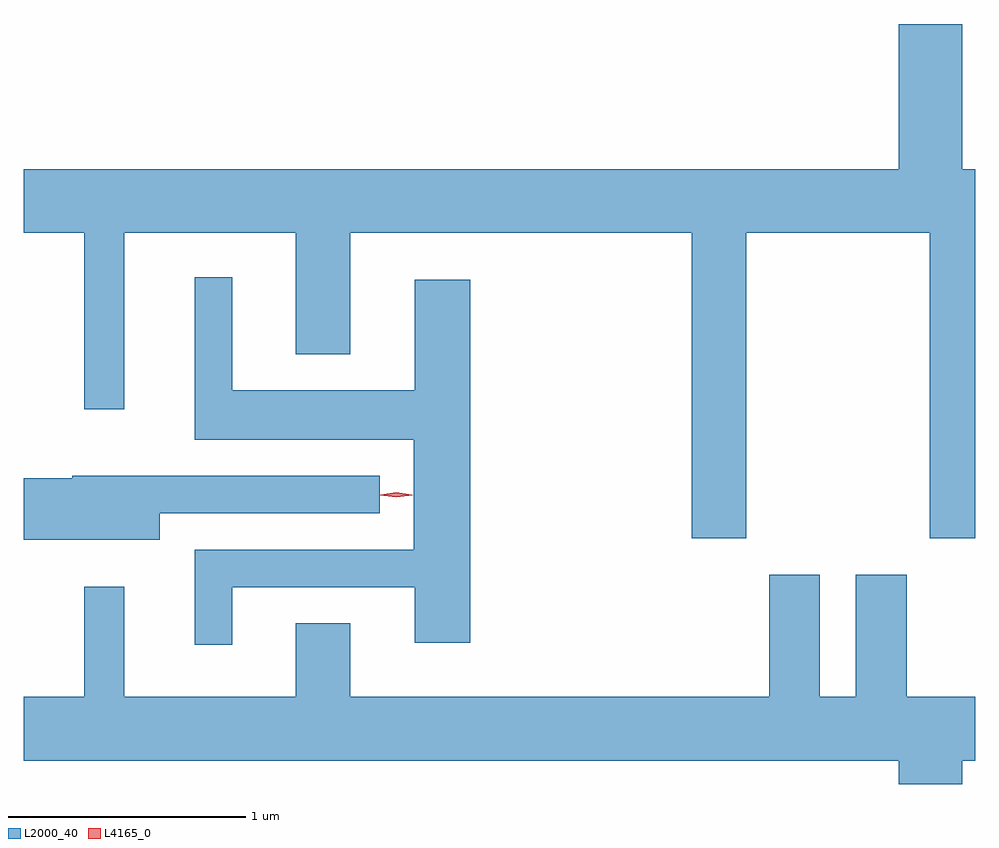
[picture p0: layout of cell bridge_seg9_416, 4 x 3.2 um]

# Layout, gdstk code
import gdstk
lib = gdstk.Library(unit=1e-6, precision=1e-09)
def P(c, l, *ps):  # polygons
    for p in ps: c.add(gdstk.Polygon(p, *l))
L2000_40 = (2000, 40)
L4165_0 = (4165, 0)

bridge_seg9_416 = lib.new_cell('bridge_seg9_416')
P(bridge_seg9_416, L2000_40, [(354.294,2060.636),(355.066,2060.636),(355.066,2059.351),(355.257,2059.351),(355.257,2060.904),(355.204,2060.904),(355.204,2061.514),(354.936,2061.514),(354.936,2060.904),(351.257,2060.904),(351.257,2060.636),(351.511,2060.636),(351.511,2059.893),(351.679,2059.893),(351.679,2060.636),(352.401,2060.636),(352.401,2060.126),(352.629,2060.126),(352.629,2060.636),(354.066,2060.636),(354.066,2059.351),(354.294,2059.351)],
  [(352.134,2059.146),(352.901,2059.146),(352.901,2058.911),(353.134,2058.911),(353.134,2060.439),(352.901,2060.439),(352.901,2059.974),(352.134,2059.974),(352.134,2060.448),(351.976,2060.448),(351.976,2059.766),(352.896,2059.766),(352.896,2059.304),(351.976,2059.304),(351.976,2058.903),(352.134,2058.903)],
  [(351.829,2059.456),(352.753,2059.456),(352.753,2059.614),(351.46,2059.614),(351.46,2059.604),(351.257,2059.604),(351.257,2059.346),(351.829,2059.346)],
  [(355.204,2058.416),(355.257,2058.416),(355.257,2058.684),(354.969,2058.684),(354.969,2059.199),(354.756,2059.199),(354.756,2058.684),(354.604,2058.684),(354.604,2059.199),(354.391,2059.199),(354.391,2058.684),(352.629,2058.684),(352.629,2058.994),(352.401,2058.994),(352.401,2058.684),(351.679,2058.684),(351.679,2059.148),(351.511,2059.148),(351.511,2058.684),(351.257,2058.684),(351.257,2058.416),(354.936,2058.416),(354.936,2058.318),(355.204,2058.318)])
P(bridge_seg9_416, L4165_0, [(352.823,2059.523),(352.754,2059.532),(352.754,2059.533),(352.754,2059.533),(352.823,2059.543),(352.892,2059.533),(352.893,2059.533),(352.892,2059.532)],
  [(352.823,2059.525),(352.757,2059.534),(352.757,2059.535),(352.757,2059.535),(352.823,2059.545),(352.889,2059.535),(352.889,2059.535),(352.889,2059.534)])

lib.write_gds('bridge_seg9_416.gds')
